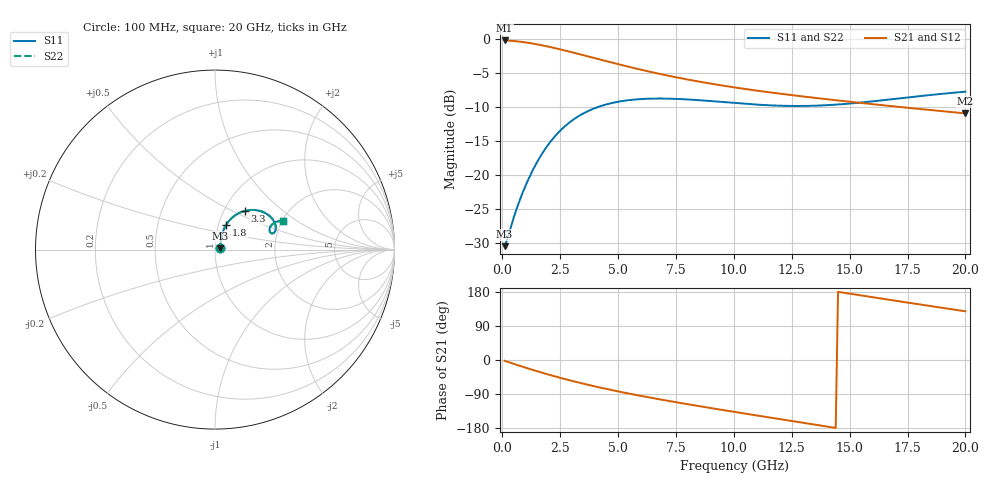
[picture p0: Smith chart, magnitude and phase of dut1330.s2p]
! Touchstone file exported from HFSS 2024.1.0
!  File:  C:/UserFiles/LocalFiles/RDL_TSV_Batchsim/temp_RDL_TSV_1330_1780389329.aedt
!  Generated:  04:52:22 PM Jun  2, 2026
!  Design:  RDL_TSV
!  Project:  temp_RDL_TSV_1330_1780389329
!  Setup:  Setup1
!  Solution:  Sweep
! Variables:
!  dtsv = 11.28um
!  hbump = 3um
!  htsv = 63.01um
!  ldown = 574.61um
!  lrdl = 426.42um
!  p = 40
!  p1 = 54.82um
!  rhole = 10um
!  subl = 3429.51um
!  t = 450um
!  tdown = 2.74um
!  trdl = 2.91um
!  viad = 10um
!  wdown = 12.28um
!  wrdl = 17.96um
!  xbump = 18um
# GHz S MA R 50.000000
! Terminal data exported
! Port[1] = TM1_1_T1
! Port[2] = TM1_4_T1
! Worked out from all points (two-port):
!   200 points, 100 MHz to 20 GHz, reference 50 ohm
!   highest |S21| = -0.26 dB at 100 MHz (marker M1); lowest = -10.9 dB at 20 GHz (marker M2)
!   |S21| within 3 dB of the highest: start of sweep to 4.457 GHz
!   lowest |S11| = -30.4 dB at 100 MHz (marker M3), VSWR 1.06, Z = 53 + j0.826 ohm
!   |S11| at or under -10 dB: start of sweep to 4.141 GHz
!   |S22| runs from -30.4 to -7.8 dB; largest |S21 - S12| = 3.7e-14
!   S11 on the Smith chart (normalised r, x): 100 MHz: 1.06, +0.02; 1.8 GHz: 1.09, +0.31; 3.3 GHz: 1.25, +0.58; 20 GHz: 2.02, +0.76
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0.1  0.0302 14.9  0.9705 -2.1  0.9705 -2.1  0.0302 14.9
! Gamma 0 0 0 0
! Port Impedance 50 0 50 0
0.2  0.0335 27.4  0.9692 -4.2  0.9692 -4.2  0.0335 27.4
0.6  0.05546 53.3  0.9577 -12.3  0.9577 -12.3  0.05546 53.3
0.9  0.07597 61.4  0.9445 -18.2  0.9445 -18.2  0.07597 61.4
1.3  0.1075 65.8  0.9221 -25.9  0.9221 -25.9  0.1075 65.9
1.8  0.1511 65.7  0.8884 -35.0  0.8884 -35.0  0.1511 65.8
2.1  0.1777 64.0  0.8663 -40.3  0.8663 -40.3  0.1778 64.0
2.5  0.2119 60.6  0.8355 -47.0  0.8355 -47.0  0.212 60.7
3.3  0.2711 52.5  0.7727 -59.6  0.7727 -59.6  0.2713 52.6
3.5  0.2834 50.4  0.7572 -62.5  0.7572 -62.5  0.2838 50.5
4.2  0.3188 43.4  0.7052 -72.4  0.7052 -72.4  0.3192 43.5
5.1  0.3475 35.5  0.6445 -84.1  0.6445 -84.1  0.348 35.5
5.9  0.3603 29.6  0.5975 -93.7  0.5975 -93.7  0.3609 29.6
6.8  0.3644 24.3  0.552 -103.9  0.552 -103.9  0.3651 24.3
8.4  0.3553 18.1  0.488 -120.7  0.488 -120.7  0.3562 18.2
10.1  0.3373 15.7  0.4377 -137.7  0.4377 -137.7  0.3381 15.7
11.7  0.3241 16.7  0.4013 -153.3  0.4013 -153.3  0.3249 16.6
13.4  0.3225 19.7  0.3702 -169.6  0.3702 -169.6  0.3232 19.6
15  0.3347 22.6  0.3452 175.1  0.3452 175.1  0.3352 22.5
16.7  0.3581 24.3  0.3219 159.0  0.3219 159.0  0.3584 24.2
18.3  0.3838 24.2  0.3023 144.1  0.3023 144.1  0.384 24.1
20  0.409 22.6  0.2838 128.5  0.2838 128.5  0.4091 22.6
